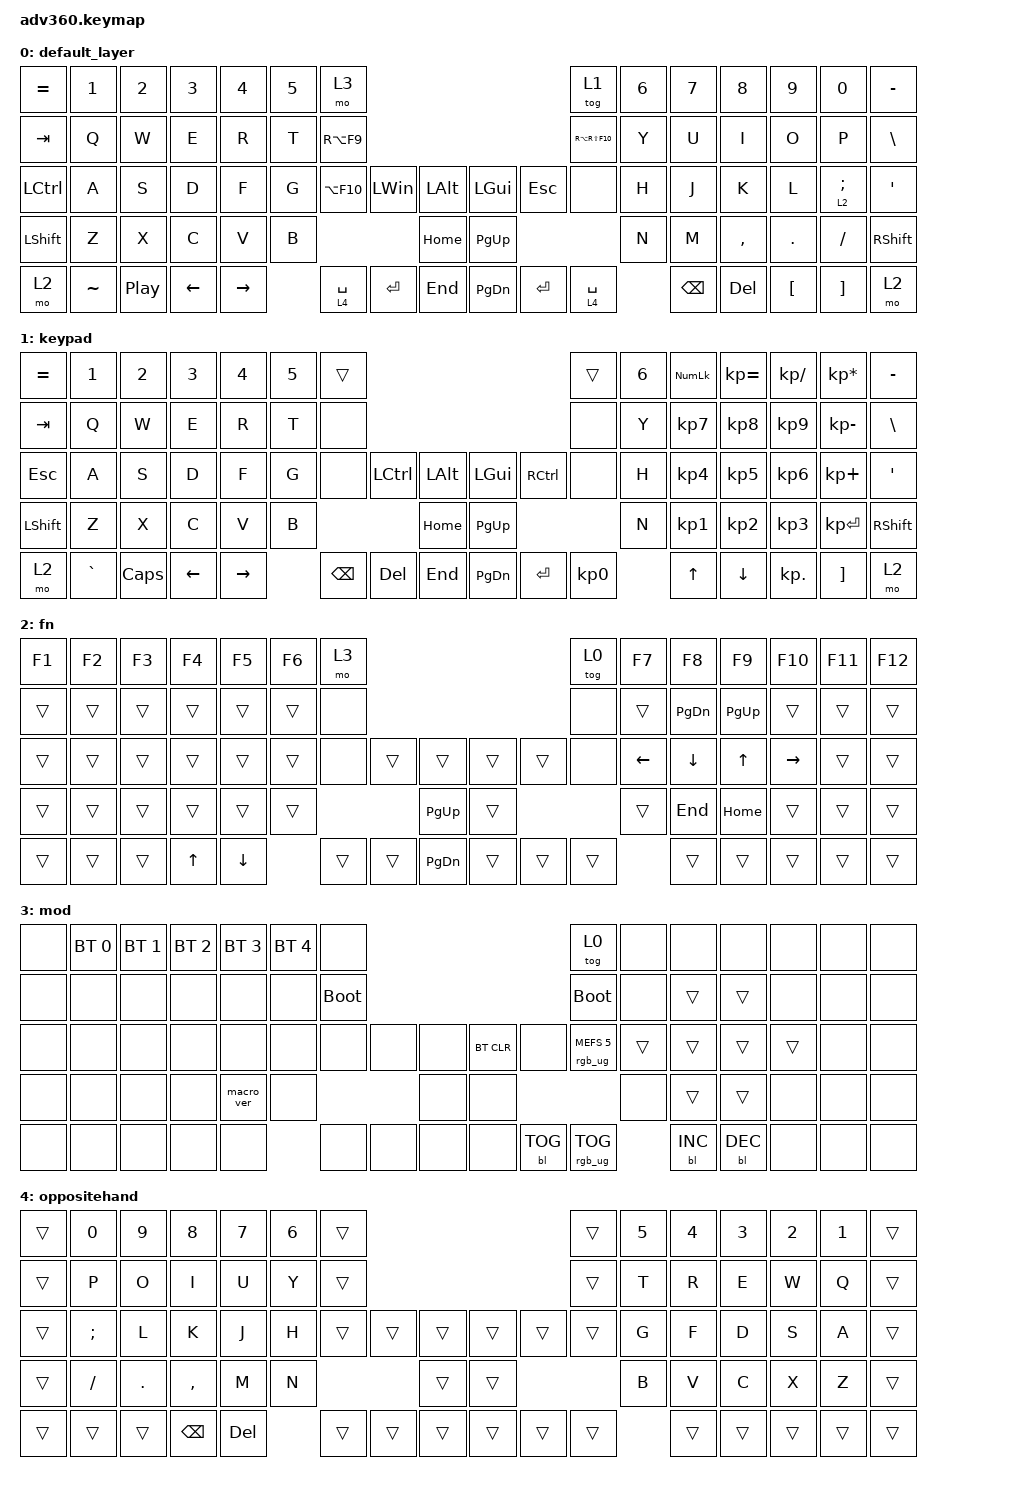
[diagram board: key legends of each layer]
#include <behaviors.dtsi>
#include <dt-bindings/zmk/backlight.h>
#include <dt-bindings/zmk/bt.h>
#include <dt-bindings/zmk/keys.h>
#include <dt-bindings/zmk/rgb.h>

/ {
    behaviors {
        #include "macros.dtsi"
      #include "version.dtsi"
      #ifndef VERSION_MACRO

        macro_ver: macro_ver {
            compatible = "zmk,behavior-macro";
            label = "macro_version";
            #binding-cells = <0>;
            bindings = <&kp RET>;
        };

        #endif

        hm: homerow_mods {
            compatible = "zmk,behavior-hold-tap";
            label = "HOMEROW_MODS";
            #binding-cells = <2>;
            tapping-term-ms = <200>;
            quick_tap_ms = <175>;
            flavor = "tap-preferred";
            bindings = <&kp>, <&kp>;
        };
    };

    macros {
    };

    keymap {
        compatible = "zmk,keymap";

        default_layer {
            bindings = <
&kp EQUAL  &kp N1     &kp N2            &kp N3    &kp N4     &kp N5  &mo 3                                                               &tog 1           &kp N6  &kp N7         &kp N8      &kp N9    &kp N0           &kp MINUS
&kp TAB    &kp Q      &kp W             &kp E     &kp R      &kp T   &kp RA(F9)                                                          &kp RA(RS(F10))  &kp Y   &kp U          &kp I       &kp O     &kp P            &kp BSLH
&kp LCTRL  &kp A      &kp S             &kp D     &kp F      &kp G   &kp LA(F10)  &kp LEFT_WIN  &kp LEFT_ALT      &kp LGUI   &kp ESCAPE  &none            &kp H   &kp J          &kp K       &kp L     &lt 2 SEMICOLON  &kp SQT
&kp LSHFT  &kp Z      &kp X             &kp C     &kp V      &kp B                              &kp HOME          &kp PG_UP                               &kp N   &kp M          &kp COMMA   &kp DOT   &kp FSLH         &kp RSHFT
&mo 2      &kp TILDE  &kp C_PLAY_PAUSE  &kp LEFT  &kp RIGHT          &lt 4 SPACE  &kp ENTER     &kp END           &kp PG_DN  &kp ENTER   &lt 4 SPACE              &kp BACKSPACE  &kp DELETE  &kp LBKT  &kp RBKT         &mo 2
            >;
        };

        keypad {
            bindings = <
&kp EQUAL  &kp N1     &kp N2    &kp N3    &kp N4     &kp N5  &trans                                                   &trans     &kp N6  &kp KP_NUM  &kp KP_EQUAL  &kp KP_DIVIDE  &kp KP_MULTIPLY  &kp MINUS
&kp TAB    &kp Q      &kp W     &kp E     &kp R      &kp T   &none                                                    &none      &kp Y   &kp KP_N7   &kp KP_N8     &kp KP_N9      &kp KP_MINUS     &kp BSLH
&kp ESC    &kp A      &kp S     &kp D     &kp F      &kp G   &none     &kp LCTRL  &kp LALT      &kp LGUI   &kp RCTRL  &none      &kp H   &kp KP_N4   &kp KP_N5     &kp KP_N6      &kp KP_PLUS      &kp SQT
&kp LSHFT  &kp Z      &kp X     &kp C     &kp V      &kp B                        &kp HOME      &kp PG_UP                        &kp N   &kp KP_N1   &kp KP_N2     &kp KP_N3      &kp KP_ENTER     &kp RSHFT
&mo 2      &kp GRAVE  &kp CAPS  &kp LEFT  &kp RIGHT          &kp BSPC  &kp DEL    &kp END       &kp PG_DN  &kp ENTER  &kp KP_N0          &kp UP      &kp DOWN      &kp KP_DOT     &kp RBKT         &mo 2
            >;
        };

        fn {
            bindings = <
&kp F1  &kp F2  &kp F3  &kp F4        &kp F5    &kp F6  &mo 3                                              &tog 0  &kp F7          &kp F8     &kp F9        &kp F10    &kp F11  &kp F12
&trans  &trans  &trans  &trans        &trans    &trans  &none                                              &none   &trans          &kp PG_DN  &kp PG_UP     &trans     &trans   &trans
&trans  &trans  &trans  &trans        &trans    &trans  &none   &trans  &trans             &trans  &trans  &none   &kp LEFT_ARROW  &kp DOWN   &kp UP_ARROW  &kp RIGHT  &trans   &trans
&trans  &trans  &trans  &trans        &trans    &trans                  &kp PG_UP          &trans                  &trans          &kp END    &kp HOME      &trans     &trans   &trans
&trans  &trans  &trans  &kp UP_ARROW  &kp DOWN          &trans  &trans  &kp PAGE_DOWN      &trans  &trans  &trans                  &trans     &trans        &trans     &trans   &trans
            >;
        };

        mod {
            bindings = <
&none  &bt BT_SEL 0  &bt BT_SEL 1  &bt BT_SEL 2  &bt BT_SEL 3  &bt BT_SEL 4  &none                                                  &tog 0                  &none   &none       &none       &none   &none  &none
&none  &none         &none         &none         &none         &none         &bootloader                                            &bootloader             &none   &trans      &trans      &none   &none  &none
&none  &none         &none         &none         &none         &none         &none        &none  &none      &bt BT_CLR  &none       &rgb_ug RGB_MEFS_CMD 5  &trans  &trans      &trans      &trans  &none  &none
&none  &none         &none         &none         &macro_ver    &none                             &none      &none                                           &none   &trans      &trans      &none   &none  &none
&none  &none         &none         &none         &none                       &none        &none  &none      &none       &bl BL_TOG  &rgb_ug RGB_TOG                 &bl BL_INC  &bl BL_DEC  &none   &none  &none
            >;
        };

        oppositehand {
            bindings = <
&trans  &kp N0    &kp N9   &kp N8     &kp N7      &kp N6  &trans                                      &trans  &kp N5  &kp N4  &kp N3  &kp N2  &kp N1  &trans
&trans  &kp P     &kp O    &kp I      &kp U       &kp Y   &trans                                      &trans  &kp T   &kp R   &kp E   &kp W   &kp Q   &trans
&trans  &kp SEMI  &kp L    &kp K      &kp J       &kp H   &trans  &trans  &trans      &trans  &trans  &trans  &kp G   &kp F   &kp D   &kp S   &kp A   &trans
&trans  &kp FSLH  &kp DOT  &kp COMMA  &kp M       &kp N                   &trans      &trans                  &kp B   &kp V   &kp C   &kp X   &kp Z   &trans
&trans  &trans    &trans   &kp BSPC   &kp DELETE          &trans  &trans  &trans      &trans  &trans  &trans          &trans  &trans  &trans  &trans  &trans
            >;
        };
    };
};
